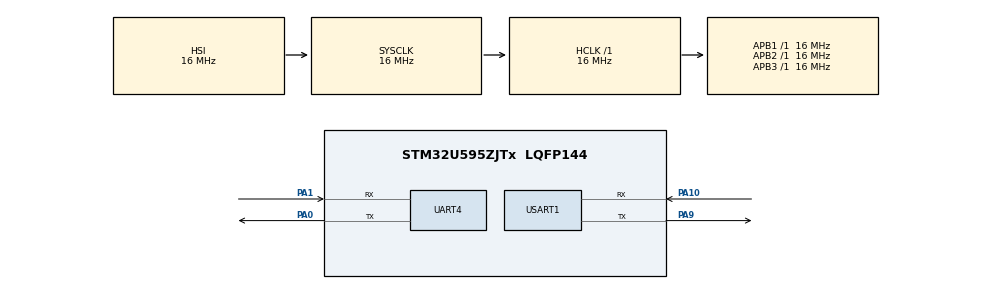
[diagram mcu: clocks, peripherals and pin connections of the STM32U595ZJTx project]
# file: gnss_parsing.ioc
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CORTEX_M33_NS.userName=CORTEX_M33
Mcu.Family=STM32U5
Mcu.Name=STM32U595ZJTx
Mcu.Package=LQFP144
NVIC.PriorityGroup=NVIC_PRIORITYGROUP_4
PA0.Mode=Asynchronous
PA0.Signal=UART4_TX
PA1.Mode=Asynchronous
PA1.Signal=UART4_RX
PA10.Mode=Asynchronous
PA10.Signal=USART1_RX
PA9.Mode=Asynchronous
PA9.Signal=USART1_TX
ProjectManager.HeapSize=0x200
ProjectManager.StackSize=0x400
ProjectManager.TargetToolchain=STM32CubeIDE
RCC.ADCFreq_Value=16000000
RCC.AHBFreq_Value=16000000
RCC.APB1Freq_Value=16000000
RCC.APB1TimFreq_Value=16000000
RCC.APB2Freq_Value=16000000
RCC.APB2TimFreq_Value=16000000
RCC.APB3Freq_Value=16000000
RCC.CortexFreq_Value=16000000
RCC.EPOD_VALUE=4000000
RCC.HCLKFreq_Value=16000000
RCC.HSE_VALUE=16000000
RCC.HSI48_VALUE=48000000
RCC.HSI_VALUE=16000000
RCC.LSE_VALUE=32768
RCC.LSIDIV_VALUE=32000
RCC.MSI_VALUE=4000000
RCC.SYSCLKFreq_VALUE=16000000
RCC.SYSCLKSource=RCC_SYSCLKSOURCE_HSI
RCC.VCOOutputFreq_Value=516000000
USART1.VirtualMode-Asynchronous=VM_ASYNC
VP_ICACHE_VS_ICACHE.Mode=DirectMappedCache
board=custom

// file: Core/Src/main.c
/* USER CODE BEGIN Header */
/**
  ******************************************************************************
  * @file           : main.c
  * @brief          : Main program body
  ******************************************************************************
  * @attention
  *
  * Copyright (c) 2023 STMicroelectronics.
  * All rights reserved.
  *
  * This software is licensed under terms that can be found in the LICENSE file
  * in the root directory of this software component.
  * If no LICENSE file comes with this software, it is provided AS-IS.
  *
  ******************************************************************************
  */
/* USER CODE END Header */
#include "main.h"

UART_HandleTypeDef huart4;
UART_HandleTypeDef huart1;

void SystemClock_Config(void);
static void MX_GPIO_Init(void);
static void MX_UART4_Init(void);
static void MX_USART1_UART_Init(void);
static void MX_ICACHE_Init(void);
/* USER CODE BEGIN PFP */
#define PRINT_INFO(pBuffer) GNSS_PRINT(pBuffer)
static uint8_t gnssCmd[90];
char gpsBuffer[256]; // Buffer to store received GPS data

char time[7];
char latitude[10];
char longitude[11];
char fix[2];
char satellites[3];
char hdop[4];
char altitude[7];

/* USER CODE END PFP */

/* USER CODE BEGIN 0 */
int GNSS_PRINT(char *pBuffer)
{
  if (HAL_UART_Transmit(&huart4, (uint8_t*)pBuffer, (uint16_t)strlen((char *)pBuffer), 1000) != HAL_OK)
  {
    return 1;
  }

  return 0;
}

void GNSS_DATA_SendCommand(uint8_t *pCommand)
{
  int32_t status;

  if (pCommand[0] != 36U) /* An NMEA command must begin with '$' */
  {
    PRINT_INFO("Invalid command (an NMEA command begins with '$').\n\r");
  }
  else
  {
    snprintf((char *)gnssCmd, 90, "%s\r\n", (char *)pCommand);
    do
    {
      status = HAL_UART_Transmit(&huart4, (uint8_t*)gnssCmd, (uint16_t)strlen((char *)gnssCmd), 1000);
    }
    while(status != 0);
  }
}

void GPS_ParseGPGGA(const char* data, char* time, char* latitude, char* longitude,
                    char* fix, char* satellites, char* hdop, char* altitude) {
    // Example GPGGA data: "$GPGGA,123519,4807.038,N,01131.000,E,1,08,0.9,545.4,M,46.9,M,,*47"
    char* gpgga = strstr(data, "$GPGGA");

    if (gpgga != NULL) {
        // Extract GPGGA sentence
        // Implement a more sophisticated parser based on your data format
        // For simplicity, this example extracts the time, latitude, longitude,
        // fix status, number of satellites, HDOP, and altitude

        sscanf(gpgga, "$GPGGA,%6s,%9s,%c,%10s,%c,%1s,%2s,%3s,%6s", time, latitude,
               &latitude[9], longitude, &longitude[10], fix, satellites, hdop, altitude);
    }
}

/* USER CODE END 0 */

int main(void)
{

  /* MCU Configuration--------------------------------------------------------*/

  /* Reset of all peripherals, Initializes the Flash interface and the Systick. */
  HAL_Init();

  /* Configure the system clock */
  SystemClock_Config();

  /* Initialize all configured peripherals */
  MX_GPIO_Init();
  MX_UART4_Init();
  MX_USART1_UART_Init();
  MX_ICACHE_Init();
  /* USER CODE BEGIN 2 */

  /* See CDB-ID 201 - This LOW_BITS Mask enables the following messages:
     * 0x1 $GPGNS Message
     * 0x2 $GPGGA Message
     * 0x4 $GPGSA Message
     * 0x8 $GPGST Message
     * 0x40 $GPRMC Message
     * 0x80000 $GPGSV Message
     * 0x100000 $GPGLL Message
     */
  //  int lowMask = 0x18004F;

  int lowMask = 0x2;
  int highMask = 0x0;
  snprintf((char *)gnssCmd, 90, "$PSTMCFGMSGL,%d,%d,%x,%x",
                   0, /*NMEA 0*/
                   1, /*Rate*/
                   lowMask,
                   highMask);

  /* USER CODE END 2 */

  /* Infinite loop */
  /* USER CODE BEGIN WHILE */
  while (1)
  {
	  GNSS_DATA_SendCommand(gnssCmd);
	  HAL_Delay(500);

	  HAL_UART_Receive(&huart4, (uint8_t*)gpsBuffer, (uint16_t)strlen((char *)gpsBuffer), 1000);
	  gpsBuffer[sizeof(gpsBuffer) - 1] = '\0';  // Ensure null-terminated string

	  GPS_ParseGPGGA(gpsBuffer, time, latitude, longitude, fix, satellites, hdop, altitude);

		// Print the parsed data
//	  printf("Time: %s, Latitude: %s, Longitude: %s, Fix: %s, Satellites: %s, HDOP: %s, Altitude: %s\n",
//			   time, latitude, longitude, fix, satellites, hdop, altitude);

		// Wait for a longer duration before sending the next set of commands
	   HAL_Delay(5000);

    /* USER CODE END WHILE */

  }
}

void SystemClock_Config(void)
{
  RCC_OscInitTypeDef RCC_OscInitStruct = {0};
  RCC_ClkInitTypeDef RCC_ClkInitStruct = {0};

  /** Configure the main internal regulator output voltage
  */
  if (HAL_PWREx_ControlVoltageScaling(PWR_REGULATOR_VOLTAGE_SCALE4) != HAL_OK)
  {
    Error_Handler();
  }

  /** Initializes the CPU, AHB and APB buses clocks
  */
  RCC_OscInitStruct.OscillatorType = RCC_OSCILLATORTYPE_HSI;
  RCC_OscInitStruct.HSIState = RCC_HSI_ON;
  RCC_OscInitStruct.HSICalibrationValue = RCC_HSICALIBRATION_DEFAULT;
  RCC_OscInitStruct.PLL.PLLState = RCC_PLL_NONE;
  if (HAL_RCC_OscConfig(&RCC_OscInitStruct) != HAL_OK)
  {
    Error_Handler();
  }

  /** Initializes the CPU, AHB and APB buses clocks
  */
  RCC_ClkInitStruct.ClockType = RCC_CLOCKTYPE_HCLK|RCC_CLOCKTYPE_SYSCLK
                              |RCC_CLOCKTYPE_PCLK1|RCC_CLOCKTYPE_PCLK2
                              |RCC_CLOCKTYPE_PCLK3;
  RCC_ClkInitStruct.SYSCLKSource = RCC_SYSCLKSOURCE_HSI;
  RCC_ClkInitStruct.AHBCLKDivider = RCC_SYSCLK_DIV1;
  RCC_ClkInitStruct.APB1CLKDivider = RCC_HCLK_DIV1;
  RCC_ClkInitStruct.APB2CLKDivider = RCC_HCLK_DIV1;
  RCC_ClkInitStruct.APB3CLKDivider = RCC_HCLK_DIV1;

  if (HAL_RCC_ClockConfig(&RCC_ClkInitStruct, FLASH_LATENCY_1) != HAL_OK)
  {
    Error_Handler();
  }
}

static void MX_ICACHE_Init(void)
{

  /** Enable instruction cache in 1-way (direct mapped cache)
  */
  if (HAL_ICACHE_ConfigAssociativityMode(ICACHE_1WAY) != HAL_OK)
  {
    Error_Handler();
  }
  if (HAL_ICACHE_Enable() != HAL_OK)
  {
    Error_Handler();
  }

}

static void MX_UART4_Init(void)
{

  huart4.Instance = UART4;
  huart4.Init.BaudRate = 115200;
  huart4.Init.WordLength = UART_WORDLENGTH_8B;
  huart4.Init.StopBits = UART_STOPBITS_1;
  huart4.Init.Parity = UART_PARITY_NONE;
  huart4.Init.Mode = UART_MODE_TX_RX;
  huart4.Init.HwFlowCtl = UART_HWCONTROL_NONE;
  huart4.Init.OverSampling = UART_OVERSAMPLING_16;
  huart4.Init.OneBitSampling = UART_ONE_BIT_SAMPLE_DISABLE;
  huart4.Init.ClockPrescaler = UART_PRESCALER_DIV1;
  huart4.AdvancedInit.AdvFeatureInit = UART_ADVFEATURE_NO_INIT;
  if (HAL_UART_Init(&huart4) != HAL_OK)
  {
    Error_Handler();
  }
  if (HAL_UARTEx_SetTxFifoThreshold(&huart4, UART_TXFIFO_THRESHOLD_1_8) != HAL_OK)
  {
    Error_Handler();
  }
  if (HAL_UARTEx_SetRxFifoThreshold(&huart4, UART_RXFIFO_THRESHOLD_1_8) != HAL_OK)
  {
    Error_Handler();
  }
  if (HAL_UARTEx_DisableFifoMode(&huart4) != HAL_OK)
  {
    Error_Handler();
  }

}

static void MX_USART1_UART_Init(void)
{

  huart1.Instance = USART1;
  huart1.Init.BaudRate = 115200;
  huart1.Init.WordLength = UART_WORDLENGTH_8B;
  huart1.Init.StopBits = UART_STOPBITS_1;
  huart1.Init.Parity = UART_PARITY_NONE;
  huart1.Init.Mode = UART_MODE_TX_RX;
  huart1.Init.HwFlowCtl = UART_HWCONTROL_NONE;
  huart1.Init.OverSampling = UART_OVERSAMPLING_16;
  huart1.Init.OneBitSampling = UART_ONE_BIT_SAMPLE_DISABLE;
  huart1.Init.ClockPrescaler = UART_PRESCALER_DIV1;
  huart1.AdvancedInit.AdvFeatureInit = UART_ADVFEATURE_NO_INIT;
  if (HAL_UART_Init(&huart1) != HAL_OK)
  {
    Error_Handler();
  }
  if (HAL_UARTEx_SetTxFifoThreshold(&huart1, UART_TXFIFO_THRESHOLD_1_8) != HAL_OK)
  {
    Error_Handler();
  }
  if (HAL_UARTEx_SetRxFifoThreshold(&huart1, UART_RXFIFO_THRESHOLD_1_8) != HAL_OK)
  {
    Error_Handler();
  }
  if (HAL_UARTEx_DisableFifoMode(&huart1) != HAL_OK)
  {
    Error_Handler();
  }

}

static void MX_GPIO_Init(void)
{

  /* GPIO Ports Clock Enable */
  __HAL_RCC_GPIOA_CLK_ENABLE();

}

void Error_Handler(void)
{
  __disable_irq();
  while (1)
  {
  }
}
